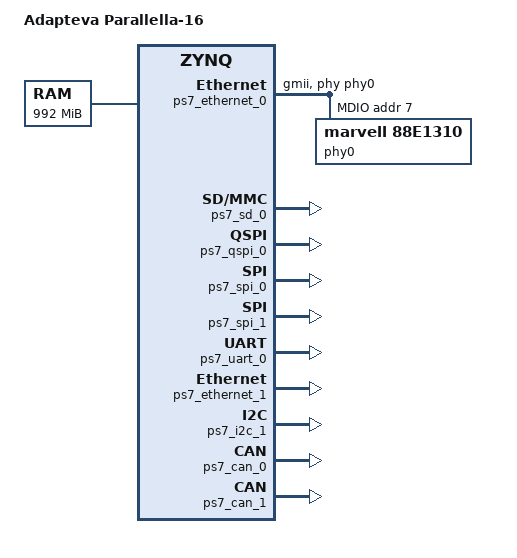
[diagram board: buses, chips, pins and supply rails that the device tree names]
/dts-v1/;
/include/ "zynq-7-base.dtsi"
/ {
	model = "Adapteva Parallella-16";
	chosen {
		bootargs = "console=ttyPS0,115200 root=/dev/ram rw earlyprintk";
		linux,stdout-path = "/amba@0/serial@e0001000";
	} ;
	ps7_ddr_0: memory@0 {
		device_type = "memory";
		reg = < 0x0 0x3e000000 >;
	} ;
	ps7_axi_interconnect_0: amba@0 {
		ps7_slcr_0: ps7-slcr@f8000000 {
			clocks {
				ps_clk: ps_clk {
					#clock-cells = <0>;
					clock-frequency = <30000000>;
					clock-output-names = "ps_clk";
					compatible = "fixed-clock";
				} ;
			} ;
		} ;

		ps7_ethernet_0: ps7-ethernet@e000b000 {
			phy-handle = <&phy0>;
			phy-mode = "gmii";
			mdio {
				phy0: phy@7 {
					compatible = "marvell,88e1310";
					device_type = "ethernet-phy";
					reg = <7>;
				} ;
			} ;
		} ;

		/* J6 - USB Host (Next to HDMI) */
		ps7_usb_0: ps7-usb@e0002000 {
			dr_mode = "host";
		};
		/* J7 - USB Device (Next to Ethernet) */
		ps7_usb_1: ps7-usb@e0003000 {
			dr_mode = "peripheral";
		};

		/* Main I2C Bus (TODO) */
		/*ps7_i2c_0: ps7-i2c@e0004000 { };*/

		/* Disabled/Unused Devices */
		ps7_sd_0: ps7-sdio@e0100000 { compatible = "invalid"; };
		ps7_qspi_0: ps7-qspi@e000d000 { compatible = "invalid"; };
		ps7_spi_0: ps7-spi@e0006000 { compatible = "invalid"; };
		ps7_spi_1: ps7-spi@e0007000 { compatible = "invalid"; };
		ps7_uart_0: serial@e0000000 { compatible = "invalid"; };
		ps7_ethernet_1: ps7-ethernet@e000c000 { compatible = "invalid"; };
		ps7_i2c_1: ps7-i2c@e0005000 { compatible = "invalid"; };
		ps7_can_0: ps7-can@e0008000 { compatible = "invalid"; };
		ps7_can_1: ps7-can@e0009000 { compatible = "invalid"; };
	} ;
} ;
